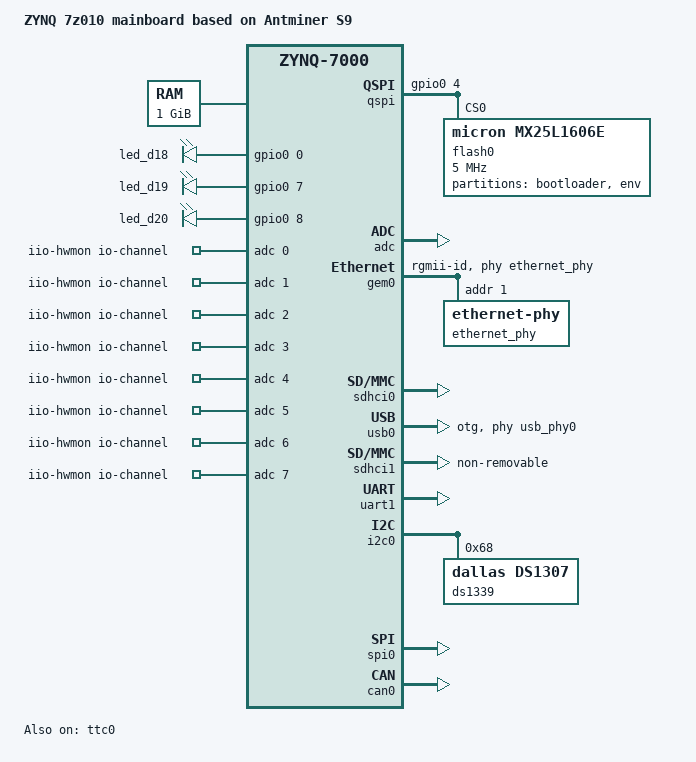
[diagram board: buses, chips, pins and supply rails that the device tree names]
// SPDX-License-Identifier: GPL-2.0
/*
 */
/dts-v1/;
#include "zynq-7000.dtsi"
#include <dt-bindings/gpio/gpio.h>
#include <dt-bindings/leds/common.h>

/ {
	model = "ZYNQ 7z010 mainboard based on Antminer S9";
	compatible = "xlnx,zynq-7000";

	aliases {
		ethernet0 = &gem0;
		serial0 = &uart1;
		mmc0 = &sdhci0;
        mmc1 = &sdhci1;
		gpio0 = &gpio0;
	};

	memory@0 {
		device_type = "memory";
		reg = <0x0 0x40000000>;
	};

	reserved-memory {
		#address-cells = <1>;
		#size-cells = <1>;
		ranges;

		bootcount@efffff0 {
			reg = <0xefffff0 0x10>;
			no-map;
		};

		fpga_space@f000000 {
			reg = <0xf000000 0x1000000>;
			no-map;
		};
	};
	
	leds {
		compatible = "gpio-leds";
		led_d18 {
			gpios = <&gpio0 0 GPIO_ACTIVE_HIGH>;
			linux,default-trigger = "mtd";
			function = LED_FUNCTION_MTD;
		};
		led_d19 {
			gpios = <&gpio0 7 GPIO_ACTIVE_HIGH>;
			linux,default-trigger = "default-on";
			function = LED_FUNCTION_POWER;
		};
		led_d20 {
			gpios = <&gpio0 8 GPIO_ACTIVE_HIGH>;
			linux,default-trigger = "mmc1";
			function = LED_FUNCTION_DISK;
		};

	};

	chosen {
		bootargs = "earlycon";
		stdout-path = "serial0:115200n8";
	};

    config {
        u-boot,boot-led = "led_d20";
        u-boot,activity-led = "led_d19";
    };
	
	usb_phy0: usbphy0@e0002000 {
		compatible = "ulpi-phy";
		#phy-cells = <0>;
		drv-vbus;
		reset-gpios = <&gpio0 47 GPIO_ACTIVE_LOW>;
		reg = <0xe0002000 0x1000>;
		view-port = <0x0170>;
	};
	
	iio-hwmon {
        compatible = "iio-hwmon";
        io-channels = <&adc 0>, <&adc 1>, <&adc 2>, <&adc 3>, <&adc 4>, <&adc 5>, <&adc 6>, <&adc 7>, <&adc 8>;
    };
	
};

&clkc {
	ps-clk-frequency = <33333333>;
};

// &nfc0 {
// 	status = "okay";
// 	#address-cells = <1>;
// 	#size-cells = <0>;
// 	nand@0 {
// 		reg = <0>;
// 		nand-ecc-mode = "on-die";
// 		nand-ecc-strength = <0x4>;
// 	};
// };

&qspi {
	status = "okay";
	num-cs = <1>;
    gpios = <&gpio0 4 GPIO_ACTIVE_HIGH>;
	flash0: flash@0 {
		compatible = "micron,mx25l1606e", "jedec,spi-nor";
        status = "okay";
		reg = <0x0>;
		spi-tx-bus-width = <1>;
		spi-rx-bus-width = <1>;
		spi-max-frequency = <5000000>;
		#address-cells = <1>;
		#size-cells = <1>;
		partition@0 {
			label = "bootloader";
			reg = <0x0 0x1e0000>;
		};
		partition@1 {
			label = "env";
			reg = <0x1e0000 0x20000>;
		};
	};
};

// &smcc {
	// status = "okay";
// };

&adc {
	status = "okay";
	#io-channel-cells = <1>;
};

&gpio0 {
	status = "okay";
};

&gem0 {
	status = "okay";
	phy-mode = "rgmii-id";
	phy-handle = <&ethernet_phy>;

	/* 0362/5e62 */
	ethernet_phy: ethernet-phy@1 {
		reg = <1>;
	};
};

&sdhci0 {
	// bootph-all;
	status = "okay";
	disable-wp;
};

&usb0 {
	status = "okay";
	dr_mode = "otg";
	disable-over-current;
	usb-role-switch;
	role-switch-default-mode = "host";
	maximum-speed = "high-speed";
	usb-phy = <&usb_phy0>;
	
};

&sdhci1 {
	bootph-all;
	status = "okay";
	disable-wp;
	non-removable;
};

&uart1 {
	bootph-all;
	status = "okay";
};

&i2c0 {
	status = "okay";

    ds1339: rtc@68 {
		compatible = "dallas,ds1307";
		reg = <0x68>;
        aux-voltage-chargeable = <1>;
	};
};

&spi0 {
	status = "okay";
};

&can0 {
	status = "okay";
};

&ttc0 {
	status = "okay";
};

&watchdog0 {
	status = "disabled";
	// reset-on-timeout;
	timeout-sec = <200>;
};
